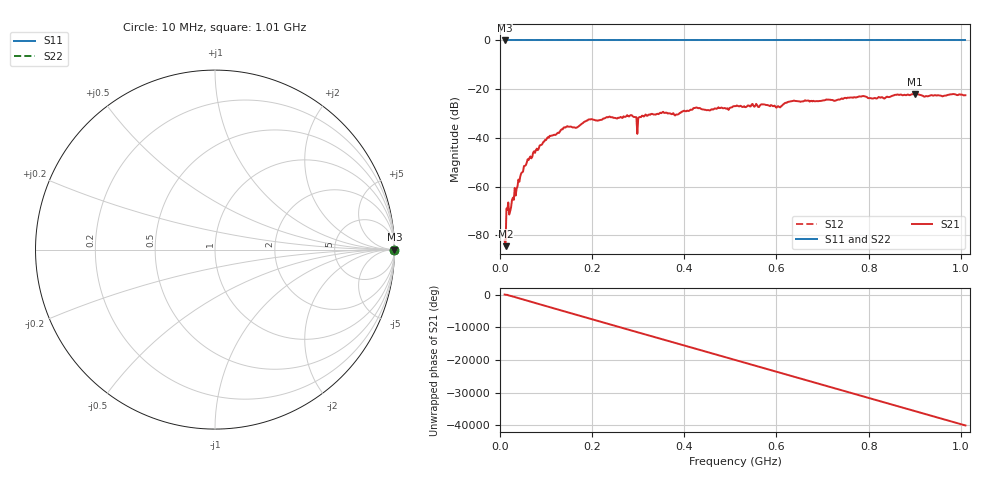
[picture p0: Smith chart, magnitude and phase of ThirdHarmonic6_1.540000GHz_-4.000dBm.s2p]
! 8/16/2025 6:15:29 PM
! C:\ANRITSUVNA\TEMP\TEMP.S2P
! CHANNEL.1
! TR.MEASUREMENT
! RAW.DATA
! RF.CORRECTION.OFF
! AVERAGING.OFF
! IF.BANDWIDTH: 5KHZ
! SWEEPTYPE:  FREQ.SWEEP(Linear)
! Reference Plane Port Info
! PORT:  PORT1  PORT2
! DISTANCE:  0  m  0  m
! TIME:  0  s  0  s
! PHASE.OFFSET:  0  deg.  0  deg.
! LOSS:  0  dB  0  dB
! REF.LOSS:  0  dB  0  dB
! REF.FREQ:  0  Hz  0  Hz
! Power Info
! POWER:  -20  dBm  -20  dBm
! EFF.POWER:  -20  dBm  -20  dBm
! SOURCE.ATTEN:  0  dB  0  dB
! TEST.ATTEN:  0  dB  0  dB
# GHZ S RI R 50.0
! FREQ.GHZ  S11RE  S11IM  S21RE  S21IM  S12RE  S12IM  S22RE  S22IM
!; PortSelection: Port_12
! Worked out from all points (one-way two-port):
!   501 points, 10 MHz to 1.01 GHz, reference 50 ohm
!   highest |S21| = -21.98 dB at 900 MHz (marker M1); lowest = -84.4 dB at 12 MHz (marker M2)
!   lowest |S11| = 0.0 dB at 10 MHz (marker M3)
!   |S11| at or under -10 dB: nowhere
!   |S22| runs from 0.0 to 0.0 dB; largest |S21 - S12| = 1.1
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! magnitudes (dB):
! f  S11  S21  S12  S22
! 10 MHz  0.0  -82.1  0.0  0.0
! 12 MHz  0.0  -84.4  0.0  0.0
! 18 MHz  0.0  -66.5  0.0  0.0
! 24 MHz  0.0  -68.5  0.0  0.0
! 44 MHz  0.0  -55.8  0.0  0.0
! 62 MHz  0.0  -49.1  0.0  0.0
! 106 MHz  0.0  -39.9  0.0  0.0
! 142 MHz  0.0  -35.7  0.0  0.0
! 178 MHz  0.0  -34.1  0.0  0.0
! 196 MHz  0.0  -32.4  0.0  0.0
! 280 MHz  0.0  -31.2  0.0  0.0
! 302 MHz  0.0  -31.5  0.0  0.0
! 306 MHz  0.0  -31.5  0.0  0.0
! 344 MHz  0.0  -30.2  0.0  0.0
! 382 MHz  0.0  -30.4  0.0  0.0
! 510 MHz  0.0  -26.9  0.0  0.0
! 604 MHz  0.0  -27.0  0.0  0.0
! 634 MHz  0.0  -24.9  0.0  0.0
! 678 MHz  0.0  -25.0  0.0  0.0
! 844 MHz  0.0  -23.3  0.0  0.0
! 900 MHz  0.0  -22.0  0.0  0.0
! 1.01 GHz  0.0  -22.5  0.0  0.0
